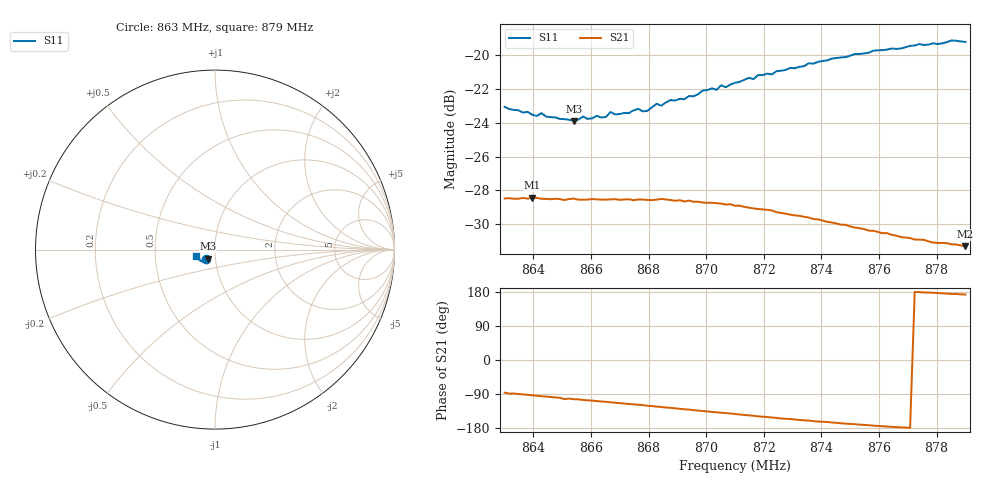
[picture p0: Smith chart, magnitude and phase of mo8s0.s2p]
# HZ S RI R 50
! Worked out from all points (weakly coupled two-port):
!   101 points, 863 MHz to 879 MHz, reference 50 ohm
!   highest |S21| = -28.44 dB at 863.96 MHz (marker M1); lowest = -31.3 dB at 879 MHz (marker M2)
!   lowest |S11| = -23.9 dB at 865.4 MHz (marker M3), VSWR 1.14, Z = 46.1 - j4.72 ohm
!   |S11| at or under -10 dB: start of sweep to end of sweep
!   S12 and S22 are empty: the file has one direction only
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8.63e8  -0.0485 -0.0509  0.00253 -0.0376  0 0  0 0
8.6396e8  -0.0445 -0.0496  -0.00209 -0.0378  0 0  0 0
8.6428e8  -0.0435 -0.0515  -0.00374 -0.0374  0 0  0 0
8.654e8  -0.0384 -0.051  -0.0087 -0.0366  0 0  0 0
8.6572e8  -0.0392 -0.0529  -0.0098 -0.036  0 0  0 0
8.6652e8  -0.0369 -0.0543  -0.013 -0.035  0 0  0 0
8.6668e8  -0.0386 -0.0558  -0.0137 -0.0348  0 0  0 0
8.6764e8  -0.0383 -0.0578  -0.0176 -0.033  0 0  0 0
8.678e8  -0.0376 -0.0569  -0.0182 -0.0327  0 0  0 0
8.6828e8  -0.0386 -0.0606  -0.0204 -0.0313  0 0  0 0
8.6844e8  -0.0392 -0.0591  -0.021 -0.0312  0 0  0 0
8.6876e8  -0.0395 -0.0622  -0.022 -0.0301  0 0  0 0
8.6924e8  -0.0402 -0.0622  -0.0237 -0.0283  0 0  0 0
8.6988e8  -0.0439 -0.0652  -0.0258 -0.0261  0 0  0 0
8.7036e8  -0.0448 -0.065  -0.0271 -0.0244  0 0  0 0
8.7052e8  -0.0474 -0.0663  -0.0275 -0.0237  0 0  0 0
8.7068e8  -0.0466 -0.0655  -0.0277 -0.0233  0 0  0 0
8.71e8  -0.0488 -0.067  -0.0284 -0.0219  0 0  0 0
8.7372e8  -0.0661 -0.0674  -0.031 -0.0105  0 0  0 0
8.7644e8  -0.0884 -0.0562  -0.0294 -0.00184  0 0  0 0
8.7852e8  -0.1031 -0.04  -0.0274 0.00275  0 0  0 0
8.79e8  -0.1038 -0.0348  -0.027 0.00336  0 0  0 0
